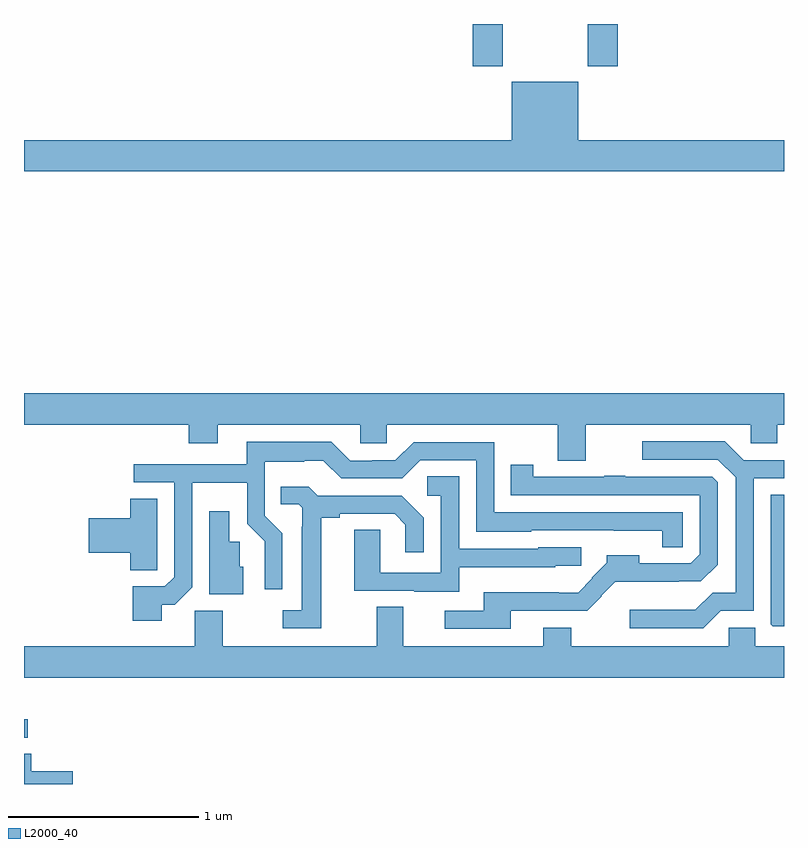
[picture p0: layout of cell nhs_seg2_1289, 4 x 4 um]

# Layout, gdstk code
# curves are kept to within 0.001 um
import gdstk
lib = gdstk.Library(unit=1e-6, precision=1e-09)
def R(c, l, rs):  # rectangles x0, y0, x1, y1
    for r in rs: c.add(gdstk.rectangle(r[:2], r[2:], *l))
def P(c, l, *ps):  # polygons
    for p in ps: c.add(gdstk.Polygon(p, *l))
L2000_40 = (2000, 40)

nhs_seg2_1289 = lib.new_cell('nhs_seg2_1289')
R(nhs_seg2_1289, L2000_40, [(179,590.043,179.02,590.142), (181.361,593.577,181.521,593.8), (181.966,593.577,182.126,593.8)])
P(nhs_seg2_1289, L2000_40, [(183,593.188),(181.918,593.188),(181.918,593.497),(181.568,593.497),(181.568,593.188),(179,593.188),(179,593.024),(183,593.024)],
  [(181.957,591.692),(182.826,591.692),(182.826,591.594),(182.965,591.594),(182.965,591.692),(183,591.692),(183,591.856),(179,591.856),(179,591.692),(179.867,591.692),(179.867,591.593),(180.019,591.593),(180.019,591.692),(180.771,591.692),(180.771,591.594),(180.909,591.594),(180.909,591.692),(181.81,591.692),(181.81,591.502),(181.957,591.502)],
  [(182.667,590.712),(182.841,590.712),(182.841,591.408),(183,591.408),(183,591.504),(182.788,591.504),(182.689,591.603),(182.253,591.603),(182.253,591.507),(182.652,591.507),(182.745,591.414),(182.745,590.807),(182.624,590.807),(182.533,590.716),(182.187,590.716),(182.187,590.619),(182.574,590.619)],
  [(179.725,590.743),(179.793,590.743),(179.886,590.835),(179.886,591.386),(180.174,591.386),(180.174,591.17),(180.266,591.078),(180.266,590.826),(180.36,590.826),(180.36,591.12),(180.267,591.213),(180.267,591.497),(180.476,591.497),(180.476,591.501),(180.576,591.501),(180.669,591.408),(180.99,591.408),(181.086,591.504),(181.38,591.504),(181.38,591.128),(181.671,591.128),(181.671,591.135),(182.358,591.134),(182.358,591.046),(182.466,591.046),(182.466,591.231),(181.476,591.231),(181.476,591.6),(181.05,591.6),(180.954,591.504),(180.834,591.504),(180.834,591.501),(180.717,591.501),(180.617,591.601),(180.173,591.601),(180.173,591.483),(179.577,591.483),(179.577,591.387),(179.79,591.387),(179.79,590.889),(179.742,590.841),(179.573,590.841),(179.573,590.658),(179.725,590.658)],
  [(181.561,590.712),(181.965,590.712),(182.041,590.789),(182.039,590.791),(182.113,590.865),(182.447,590.864),(182.447,590.866),(182.563,590.866),(182.652,590.955),(182.652,591.387),(182.622,591.417),(182.165,591.417),(182.165,591.422),(182.053,591.422),(182.053,591.417),(181.68,591.417),(181.68,591.481),(181.561,591.481),(181.561,591.321),(182.556,591.321),(182.556,591.009),(182.508,590.961),(182.239,590.961),(182.239,591.004),(182.068,591.004),(182.068,590.965),(181.989,590.886),(181.992,590.883),(181.916,590.807),(181.814,590.807),(181.814,590.809),(181.421,590.809),(181.421,590.712),(181.215,590.712),(181.215,590.616),(181.561,590.616)],
  [(181.291,590.942),(181.797,590.942),(181.797,590.949),(181.932,590.949),(181.932,591.045),(181.707,591.045),(181.707,591.039),(181.29,591.039),(181.29,591.419),(181.122,591.419),(181.122,591.318),(181.194,591.318),(181.194,590.913),(180.876,590.913),(180.876,591.137),(180.737,591.137),(180.737,590.817),(181.055,590.817),(181.055,590.813),(181.291,590.813)],
  [(180.565,591.202),(180.661,591.202),(180.661,591.222),(180.95,591.222),(181.007,591.165),(181.007,591.021),(181.104,591.021),(181.104,591.202),(180.988,591.318),(180.546,591.318),(180.498,591.365),(180.352,591.365),(180.352,591.273),(180.447,591.273),(180.465,591.255),(180.465,591.155),(180.461,591.155),(180.461,590.715),(180.363,590.715),(180.363,590.619),(180.565,590.619)],
  [(183,591.323),(182.93,591.323),(182.93,590.641),(182.94,590.631),(183,590.631)],
  [(179.7,591.034),(179.701,591.034),(179.701,591.302),(179.558,591.302),(179.558,591.2),(179.34,591.2),(179.34,591.017),(179.558,591.017),(179.558,590.926),(179.7,590.926)],
  [(180.154,590.943),(180.135,590.943),(180.135,591.075),(180.079,591.075),(180.079,591.235),(179.975,591.235),(179.975,590.798),(180.154,590.798)],
  [(183,590.524),(182.848,590.524),(182.848,590.622),(182.709,590.622),(182.709,590.524),(181.881,590.524),(181.881,590.623),(181.733,590.623),(181.733,590.524),(180.997,590.524),(180.997,590.732),(180.857,590.732),(180.857,590.524),(180.045,590.524),(180.045,590.713),(179.898,590.713),(179.898,590.524),(179,590.524),(179,590.36),(183,590.36)],
  [(179.257,589.868),(179.039,589.868),(179.039,589.958),(179,589.958),(179,589.8),(179.257,589.8)])

lib.write_gds('nhs_seg2_1289.gds')
